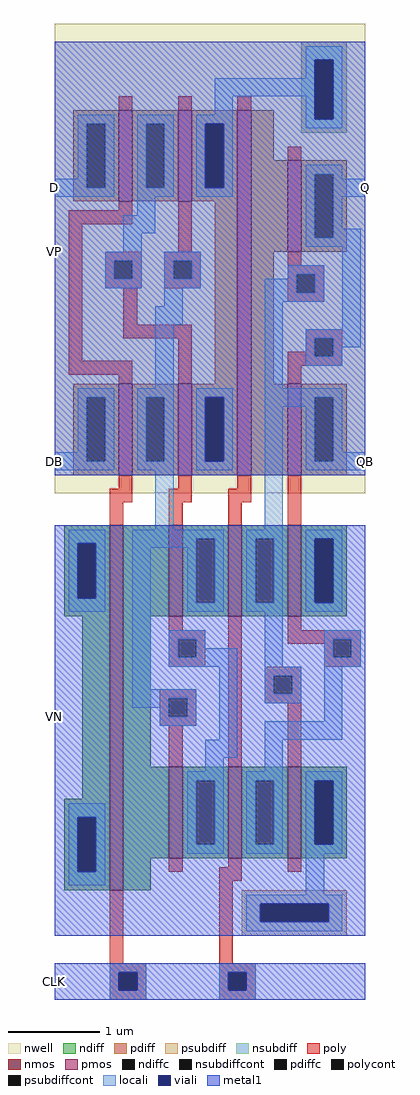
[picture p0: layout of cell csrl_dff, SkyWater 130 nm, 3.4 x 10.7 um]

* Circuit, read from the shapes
.subckt csrl_dff D DB CLK Q QB VP VN
XM1 n1 CLK VN VN sky130_fd_pr__nfet_01v8 w=4 l=0.15
XM2 n2 n3 n1 VN sky130_fd_pr__nfet_01v8 w=1 l=0.15
XM3 n3 n2 n1 VN sky130_fd_pr__nfet_01v8 w=1 l=0.15
XM4 Q CLK n2 VN sky130_fd_pr__nfet_01v8 w=1 l=0.15
XM5 QB CLK n3 VN sky130_fd_pr__nfet_01v8 w=1 l=0.15
XM6 VN QB Q VN sky130_fd_pr__nfet_01v8 w=1 l=0.15
XM7 VN Q QB VN sky130_fd_pr__nfet_01v8 w=1 l=0.15
XM8 n3 CLK DB VP sky130_fd_pr__pfet_01v8 w=1 l=0.15
XM9 n2 CLK D VP sky130_fd_pr__pfet_01v8 w=1 l=0.15
XM10 VP n2 n3 VP sky130_fd_pr__pfet_01v8 w=1 l=0.15
XM11 VP n3 n2 VP sky130_fd_pr__pfet_01v8 w=1 l=0.15
XM12 n4 CLK VP VP sky130_fd_pr__pfet_01v8 w=4 l=0.15
XM13 QB Q n4 VP sky130_fd_pr__pfet_01v8 w=1 l=0.15
XM14 Q QB n4 VP sky130_fd_pr__pfet_01v8 w=1 l=0.15
.ends

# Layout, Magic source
magic
tech sky130A
<< nwell >>
rect -50 295 290 810
<< nmos >>
rect 10 -140 25 260
rect 75 160 90 260
rect 140 160 155 260
rect 205 160 220 260
rect 75 -105 90 -5
rect 140 -105 155 -5
rect 205 -105 220 -5
<< pmos >>
rect 20 615 35 715
rect 85 615 100 715
rect 20 315 35 415
rect 85 315 100 415
rect 150 315 165 715
rect 205 560 220 660
rect 205 315 220 415
<< ndiff >>
rect -40 240 10 260
rect -40 180 -25 240
rect -5 180 10 240
rect -40 160 10 180
rect -20 -40 10 160
rect -40 -60 10 -40
rect -40 -120 -25 -60
rect -5 -120 10 -60
rect -40 -140 10 -120
rect 25 160 75 260
rect 90 245 140 260
rect 90 175 105 245
rect 125 175 140 245
rect 90 160 140 175
rect 155 245 205 260
rect 155 175 170 245
rect 190 175 205 245
rect 155 160 205 175
rect 220 245 270 260
rect 220 175 235 245
rect 255 175 270 245
rect 220 160 270 175
rect 25 -5 55 160
rect 25 -105 75 -5
rect 90 -20 140 -5
rect 90 -90 105 -20
rect 125 -90 140 -20
rect 90 -105 140 -90
rect 155 -20 205 -5
rect 155 -90 170 -20
rect 190 -90 205 -20
rect 155 -105 205 -90
rect 220 -20 270 -5
rect 220 -90 235 -20
rect 255 -90 270 -20
rect 220 -105 270 -90
rect 25 -140 55 -105
<< pdiff >>
rect -30 700 20 715
rect -30 630 -15 700
rect 5 630 20 700
rect -30 615 20 630
rect 35 700 85 715
rect 35 630 50 700
rect 70 630 85 700
rect 35 615 85 630
rect 100 700 150 715
rect 100 630 115 700
rect 135 630 150 700
rect 100 615 150 630
rect 125 415 150 615
rect -30 400 20 415
rect -30 330 -15 400
rect 5 330 20 400
rect -30 315 20 330
rect 35 400 85 415
rect 35 330 50 400
rect 70 330 85 400
rect 35 315 85 330
rect 100 400 150 415
rect 100 330 115 400
rect 135 330 150 400
rect 100 315 150 330
rect 165 660 190 715
rect 165 560 205 660
rect 220 645 270 660
rect 220 575 235 645
rect 255 575 270 645
rect 220 560 270 575
rect 165 415 190 560
rect 165 315 205 415
rect 220 400 270 415
rect 220 330 235 400
rect 255 330 270 400
rect 220 315 270 330
<< ndiffc >>
rect -25 180 -5 240
rect -25 -120 -5 -60
rect 105 175 125 245
rect 170 175 190 245
rect 235 175 255 245
rect 105 -90 125 -20
rect 170 -90 190 -20
rect 235 -90 255 -20
<< pdiffc >>
rect -15 630 5 700
rect 50 630 70 700
rect 115 630 135 700
rect -15 330 5 400
rect 50 330 70 400
rect 115 330 135 400
rect 235 575 255 645
rect 235 330 255 400
<< psubdiff >>
rect 155 -155 270 -140
rect 155 -175 175 -155
rect 250 -175 270 -155
rect 155 -190 270 -175
<< nsubdiff >>
rect 220 770 270 790
rect 220 705 235 770
rect 255 705 270 770
rect 220 690 270 705
<< psubdiffcont >>
rect 175 -175 250 -155
<< nsubdiffcont >>
rect 235 705 255 770
<< poly >>
rect 20 715 35 730
rect 85 715 100 730
rect 150 715 165 730
rect 20 605 35 615
rect -35 590 35 605
rect -35 440 -20 590
rect 85 560 100 615
rect 5 550 45 560
rect 5 530 15 550
rect 35 530 45 550
rect 5 520 45 530
rect 70 550 110 560
rect 70 530 80 550
rect 100 530 110 550
rect 70 520 110 530
rect 25 480 40 520
rect 25 465 100 480
rect -35 425 35 440
rect 20 415 35 425
rect 85 415 100 465
rect 205 660 220 675
rect 205 545 220 560
rect 205 535 245 545
rect 205 515 215 535
rect 235 515 245 535
rect 205 505 245 515
rect 225 465 265 475
rect 225 450 235 465
rect 205 445 235 450
rect 255 445 265 465
rect 205 435 265 445
rect 205 415 220 435
rect 20 300 35 315
rect 85 300 100 315
rect 150 300 165 315
rect 10 285 35 300
rect 75 285 100 300
rect 140 285 165 300
rect 10 260 25 285
rect 75 260 90 285
rect 140 260 155 285
rect 205 260 220 315
rect 75 145 90 160
rect 75 135 115 145
rect 75 115 85 135
rect 105 115 115 135
rect 75 105 115 115
rect 65 70 105 80
rect 65 50 75 70
rect 95 50 105 70
rect 65 40 105 50
rect 75 -5 90 40
rect 140 -5 155 160
rect 205 145 220 160
rect 205 135 285 145
rect 205 130 255 135
rect 245 115 255 130
rect 275 115 285 135
rect 245 105 285 115
rect 180 95 220 105
rect 180 75 190 95
rect 210 75 220 95
rect 180 65 220 75
rect 205 -5 220 65
rect 75 -120 90 -105
rect 140 -115 155 -105
rect 130 -130 155 -115
rect 205 -120 220 -105
rect 10 -220 25 -140
rect 130 -220 145 -130
rect 10 -230 50 -220
rect 10 -250 20 -230
rect 40 -250 50 -230
rect 10 -260 50 -250
rect 130 -230 170 -220
rect 130 -250 140 -230
rect 160 -250 170 -230
rect 130 -260 170 -250
<< polycont >>
rect 15 530 35 550
rect 80 530 100 550
rect 215 515 235 535
rect 235 445 255 465
rect 85 115 105 135
rect 75 50 95 70
rect 255 115 275 135
rect 190 75 210 95
rect 20 -250 40 -230
rect 140 -250 160 -230
<< locali >>
rect 225 770 265 785
rect 225 750 235 770
rect 125 730 235 750
rect 125 710 145 730
rect -25 700 15 710
rect -25 640 -15 700
rect -50 630 -15 640
rect 5 630 15 700
rect -50 620 15 630
rect 40 700 80 710
rect 40 630 50 700
rect 70 630 80 700
rect 40 620 80 630
rect 105 700 145 710
rect 105 630 115 700
rect 135 630 145 700
rect 225 705 235 730
rect 255 705 265 770
rect 225 695 265 705
rect 105 620 145 630
rect 225 645 265 655
rect 40 600 60 620
rect 25 580 60 600
rect 25 560 45 580
rect 225 575 235 645
rect 255 640 265 645
rect 255 620 290 640
rect 255 585 265 620
rect 255 575 285 585
rect 225 565 285 575
rect 5 550 45 560
rect 5 530 15 550
rect 35 530 45 550
rect 5 520 45 530
rect 70 550 110 560
rect 70 530 80 550
rect 100 530 110 550
rect 205 535 245 545
rect 205 530 215 535
rect 70 520 110 530
rect 70 500 90 520
rect 60 480 90 500
rect 180 515 215 530
rect 235 515 245 535
rect 180 505 245 515
rect 60 410 80 480
rect 180 410 200 505
rect 265 475 285 565
rect 225 465 285 475
rect 225 445 235 465
rect 255 455 285 465
rect 255 445 265 455
rect 225 435 265 445
rect -25 400 15 410
rect -25 340 -15 400
rect -50 330 -15 340
rect 5 330 15 400
rect -50 320 15 330
rect 40 400 80 410
rect 40 330 50 400
rect 70 330 80 400
rect 40 320 80 330
rect 105 400 145 410
rect 105 330 115 400
rect 135 330 145 400
rect 105 320 145 330
rect 180 400 265 410
rect 180 390 235 400
rect 60 255 80 320
rect 180 255 200 390
rect 225 330 235 390
rect 255 340 265 400
rect 255 330 290 340
rect 225 320 290 330
rect -35 240 5 255
rect -35 180 -25 240
rect -5 180 5 240
rect -35 165 5 180
rect 35 245 135 255
rect 35 235 105 245
rect 35 80 55 235
rect 95 175 105 235
rect 125 175 135 245
rect 95 165 135 175
rect 160 245 200 255
rect 160 175 170 245
rect 190 175 200 245
rect 160 165 200 175
rect 225 245 265 255
rect 225 175 235 245
rect 255 175 265 245
rect 225 165 265 175
rect 75 135 115 145
rect 75 115 85 135
rect 105 125 115 135
rect 105 115 150 125
rect 75 105 150 115
rect 35 70 105 80
rect 35 60 75 70
rect 65 50 75 60
rect 95 50 105 70
rect 65 40 105 50
rect 130 25 150 105
rect 180 105 200 165
rect 245 135 285 145
rect 245 115 255 135
rect 275 115 285 135
rect 245 105 285 115
rect 180 95 220 105
rect 180 75 190 95
rect 210 75 220 95
rect 180 65 220 75
rect 245 45 265 105
rect 115 5 150 25
rect 180 25 265 45
rect 115 -10 135 5
rect 180 -10 200 25
rect 95 -20 135 -10
rect -35 -60 5 -45
rect -35 -120 -25 -60
rect -5 -120 5 -60
rect 95 -90 105 -20
rect 125 -90 135 -20
rect 95 -100 135 -90
rect 160 -20 200 -10
rect 160 -90 170 -20
rect 190 -90 200 -20
rect 160 -100 200 -90
rect 225 -20 265 -10
rect 225 -90 235 -20
rect 255 -90 265 -20
rect 225 -100 265 -90
rect -35 -135 5 -120
rect 225 -145 245 -100
rect 160 -155 265 -145
rect 160 -175 175 -155
rect 250 -175 265 -155
rect 160 -185 265 -175
rect 10 -230 50 -220
rect 10 -250 20 -230
rect 40 -250 50 -230
rect 10 -260 50 -250
rect 130 -230 170 -220
rect 130 -250 140 -230
rect 160 -250 170 -230
rect 130 -260 170 -250
<< viali >>
rect 115 630 135 700
rect 235 705 255 770
rect 115 330 135 400
rect -25 180 -5 240
rect 235 175 255 245
rect -25 -120 -5 -60
rect 235 -90 255 -20
rect 175 -175 250 -155
rect 20 -250 40 -230
rect 140 -250 160 -230
<< metal1 >>
rect -50 770 290 790
rect -50 705 235 770
rect 255 705 290 770
rect -50 700 290 705
rect -50 630 115 700
rect 135 630 290 700
rect -50 400 290 630
rect -50 330 115 400
rect 135 330 290 400
rect -50 315 290 330
rect -50 245 290 260
rect -50 240 235 245
rect -50 180 -25 240
rect -5 180 235 240
rect -50 175 235 180
rect 255 175 290 245
rect -50 -20 290 175
rect -50 -60 235 -20
rect -50 -120 -25 -60
rect -5 -90 235 -60
rect 255 -90 290 -20
rect -5 -120 290 -90
rect -50 -155 290 -120
rect -50 -175 175 -155
rect 250 -175 290 -155
rect -50 -190 290 -175
rect -50 -230 290 -220
rect -50 -250 20 -230
rect 40 -250 140 -230
rect 160 -250 290 -230
rect -50 -260 290 -250
<< labels >>
rlabel metal1 -50 50 -50 50 3 VN
port 7 e
rlabel locali -50 330 -50 330 7 DB
port 2 w
rlabel metal1 -50 -240 -50 -240 7 CLK
port 3 w
rlabel metal1 -50 560 -50 560 7 VP
port 6 w
rlabel locali -50 630 -50 630 7 D
port 1 w
rlabel locali 290 330 290 330 3 QB
port 5 e
rlabel locali 290 630 290 630 3 Q
port 4 e
<< end >>
